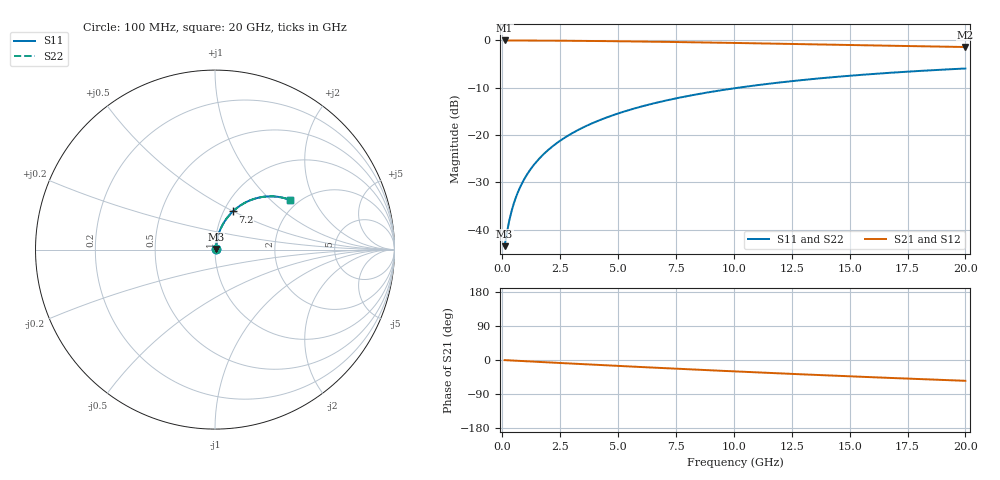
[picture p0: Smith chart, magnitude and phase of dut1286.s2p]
! Touchstone file exported from HFSS 2026.1.0
!  File:  C:/ffzhzh/LocalFiles/Ansys_Project_Files/temp_train_BSMRDL_1286_1783177926_51560.aedt
!  Generated:  11:13:29 PM Jul  4, 2026
!  Design:  BSMRDL
!  Project:  temp_train_BSMRDL_1286_1783177926_51560
! Variables:
!  h_bsmrdl = 4.3um
!  h_ox = 20um
!  h_rdl = 5um
!  h_sub = 80um
!  h_tmrdl = 5um
!  h_tsv = 80um
!  h_via = 3um
!  l_bsmrdl = 845.57um
!  l_sub = 1245.57um
!  l_tmrdl = 200um
!  m_sub = 200um
!  pitch = 36.87um
!  r_tsv = 6um
!  s_tmrdl = 10um
!  w_bsmrdl = 12.58um
!  w_sub = 500um
!  w_tmrdl = 12um
!  x_tsv_center1 = 206um
!  x_tsv_center2 = 1064.15um
!  x_tsv_center3 = 1276.15um
!  x_tsv_center4 = 2134.3um
!  x_tsv_center5 = 2346.3um
!  x_tsv_center6 = 3204.45um
# GHz S MA R 50.000000
! Terminal data exported
! Port[1] = BSM_RDL1_1_T1
! Port[2] = BSM_RDL1_1_T2
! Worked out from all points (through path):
!   200 points, 100 MHz to 20 GHz, reference 50 ohm
!   highest |S21| = -0.05 dB at 100 MHz (marker M1); lowest = -1.4 dB at 20 GHz (marker M2)
!   group delay of S21, straight-line fit = 7.62 ps
!   lowest |S11| = -43.5 dB at 100 MHz (marker M3), VSWR 1.01, Z = 50.6 + j0.371 ohm
!   |S11| at or under -10 dB: start of sweep to 10.24 GHz
!   |S22| runs from -43.5 to -6.0 dB; largest |S21 - S12| = 1.6e-14
!   S11 on the Smith chart (normalised r, x): 100 MHz: 1.01, +0.01; 7.2 GHz: 1.10, +0.50; 20 GHz: 1.81, +1.34
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0.1  0.006666 33.4  0.9944 -0.3  0.9944 -0.3  0.006666 33.4
! Gamma 0 0 0 0
! Port Impedance 50 0 50 0
0.2  0.009279 51.7  0.9943 -0.7  0.9943 -0.7  0.009279 51.7
0.3  0.01238 61.0  0.9941 -1.0  0.9941 -1.0  0.01238 61.0
0.4  0.01564 66.3  0.9939 -1.3  0.9939 -1.3  0.01564 66.3
0.5  0.01895 69.6  0.9937 -1.6  0.9937 -1.6  0.01895 69.6
0.6  0.02229 71.9  0.9936 -1.9  0.9936 -1.9  0.02229 71.9
0.8  0.02902 74.7  0.9932 -2.6  0.9932 -2.6  0.02902 74.7
1.1  0.0392 76.8  0.9927 -3.5  0.9927 -3.5  0.0392 76.8
1.3  0.04602 77.5  0.9922 -4.1  0.9922 -4.1  0.04602 77.5
1.6  0.05625 77.9  0.9915 -5.1  0.9915 -5.1  0.05625 77.9
2.1  0.07326 77.7  0.9901 -6.7  0.9901 -6.7  0.07326 77.6
2.7  0.0935 76.7  0.9879 -8.5  0.9879 -8.5  0.0935 76.7
3.5  0.1201 74.9  0.9843 -11.0  0.9843 -11.0  0.1201 74.9
4.2  0.1429 73.1  0.9805 -13.1  0.9805 -13.1  0.1429 73.1
5  0.1683 71.0  0.9757 -15.6  0.9757 -15.6  0.1683 71.0
6.8  0.2228 66.0  0.963 -20.9  0.963 -20.9  0.2228 66.0
7.2  0.2344 64.9  0.9599 -22.1  0.9599 -22.1  0.2344 64.9
8.6  0.2735 61.1  0.9484 -26.1  0.9484 -26.1  0.2735 61.1
10.1  0.3127 57.1  0.9354 -30.2  0.9354 -30.2  0.3127 57.1
13.4  0.389 48.7  0.9053 -39.0  0.9053 -39.0  0.3891 48.7
16.7  0.4521 40.7  0.8753 -47.2  0.8753 -47.2  0.4522 40.7
20  0.5027 33.3  0.8476 -54.9  0.8476 -54.9  0.5027 33.2
